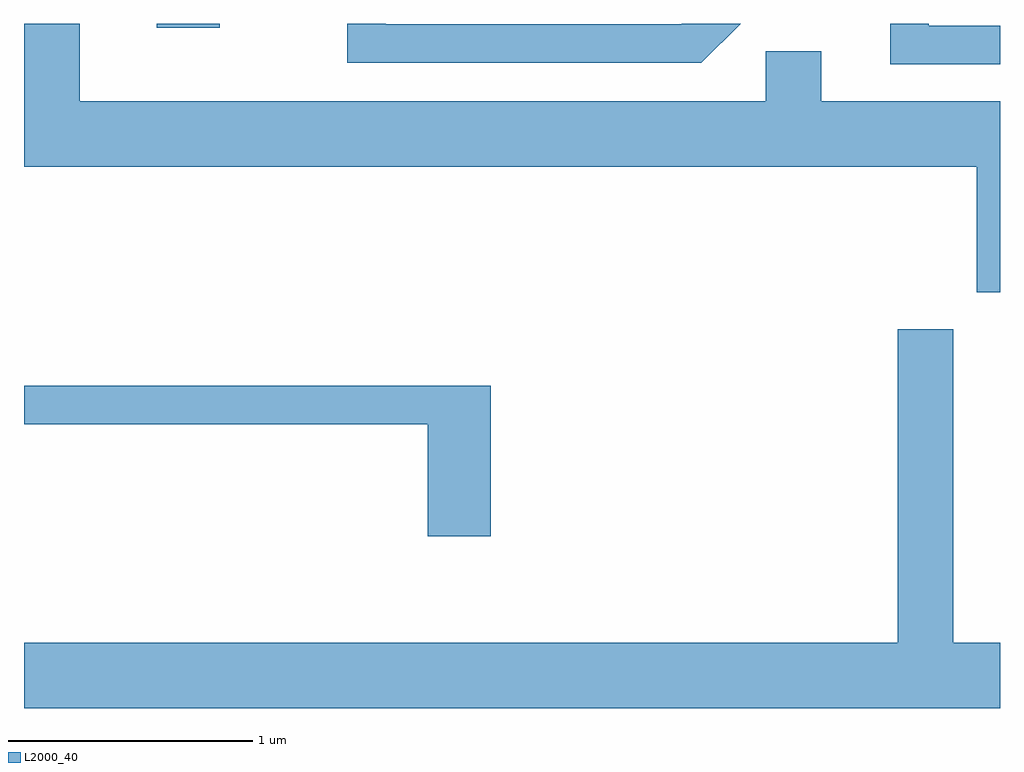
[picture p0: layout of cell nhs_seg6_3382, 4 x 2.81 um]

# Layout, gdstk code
import gdstk
lib = gdstk.Library(unit=1e-6, precision=1e-09)
def R(c, l, rs):  # rectangles x0, y0, x1, y1
    for r in rs: c.add(gdstk.rectangle(r[:2], r[2:], *l))
def P(c, l, *ps):  # polygons
    for p in ps: c.add(gdstk.Polygon(p, *l))
L2000_40 = (2000, 40)

nhs_seg6_3382 = lib.new_cell('nhs_seg6_3382')
R(nhs_seg6_3382, L2000_40, [(288.156,1566.146,288.414,1566.162)])
P(nhs_seg6_3382, L2000_40, [(291.611,1565.844),(290.879,1565.844),(290.879,1566.049),(290.651,1566.049),(290.651,1565.844),(287.839,1565.844),(287.839,1566.162),(287.611,1566.162),(287.611,1565.576),(291.516,1565.576),(291.516,1565.061),(291.611,1565.061)],
  [(290.548,1566.162),(290.307,1566.162),(290.304,1566.159),(289.094,1566.159),(289.094,1566.162),(288.936,1566.162),(288.936,1566.001),(290.387,1566.001)],
  [(291.611,1566.154),(291.319,1566.154),(291.319,1566.162),(291.161,1566.162),(291.161,1565.996),(291.611,1565.996)],
  [(291.611,1563.624),(291.419,1563.624),(291.419,1564.909),(291.191,1564.909),(291.191,1563.624),(287.611,1563.624),(287.611,1563.356),(291.611,1563.356)],
  [(289.524,1564.679),(287.611,1564.679),(287.611,1564.521),(289.266,1564.521),(289.266,1564.061),(289.524,1564.061)])

lib.write_gds('nhs_seg6_3382.gds')
